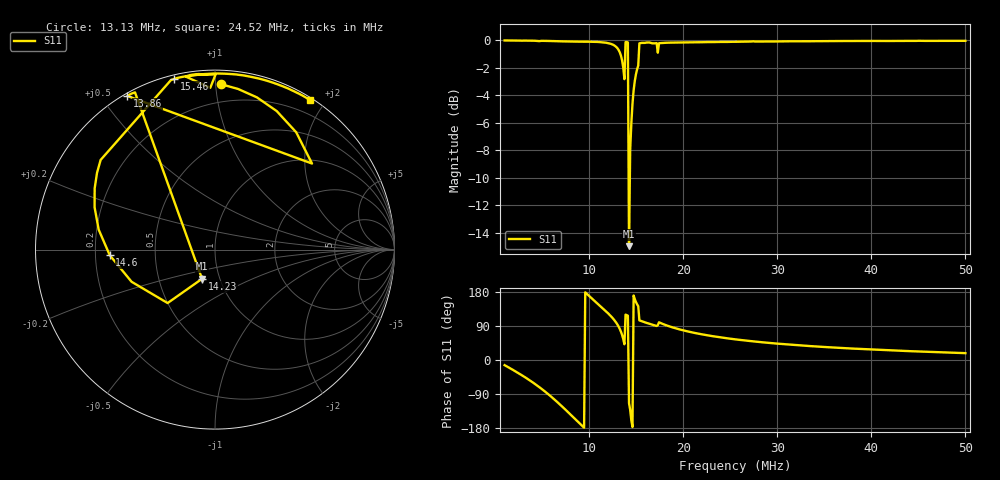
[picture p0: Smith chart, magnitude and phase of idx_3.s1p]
# HZ S RI R 50
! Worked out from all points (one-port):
!   401 points, 1 MHz to 50 MHz, reference 50 ohm
!   lowest |S11| = -15.0 dB at 14.23 MHz (marker M1), VSWR 1.43, Z = 41.2 - j13.8 ohm
!   |S11| at or under -10 dB: 14.19 MHz to 14.32 MHz (128.7 kHz wide, 0.903 % of centre)
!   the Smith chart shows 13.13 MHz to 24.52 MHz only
!   S11 on the Smith chart (normalised r, x): 13.13 MHz: 0.08, +1.03; 13.86 MHz: 0.01, +0.58; 14.23 MHz: 0.82, -0.28; 14.6 MHz: 0.26, -0.03; 15.46 MHz: 0.02, +0.79; 24.52 MHz: 0.03, +1.81
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1000000  0.9712 -0.2361
2960000  0.7401 -0.6697
4797500  0.281 -0.9549
6022500  -0.1428 -0.9841
7125000  -0.5391 -0.8323
8717500  -0.9358 -0.3218
1.0065e7  -0.9642 0.2194
1.178e7  -0.6107 0.7675
1.31275e7  0.0335 0.9215
1.325e7  0.1288 0.8949
1.3495e7  0.3438 0.7719
1.38625e7  -0.4888 0.8561
1.41075e7  -0.4457 0.8761
1.423e7  -0.0722 -0.1627
1.4475e7  -0.4646 -0.1794
1.45975e7  -0.5862 -0.0318
1.4965e7  -0.6705 0.3408
1.5455e7  -0.2279 0.9508
1.55775e7  -0.2099 0.9564
1.6925e7  -0.0261 0.9749
1.766e7  -0.1152 0.9711
1.9375e7  0.1318 0.9738
2.452e7  0.5273 0.8347
2.55e7  0.5727 0.8055
3.1625e7  0.7605 0.6377
3.775e7  0.8577 0.5046
4.3875e7  0.9128 0.3981
5e7  0.9472 0.309
